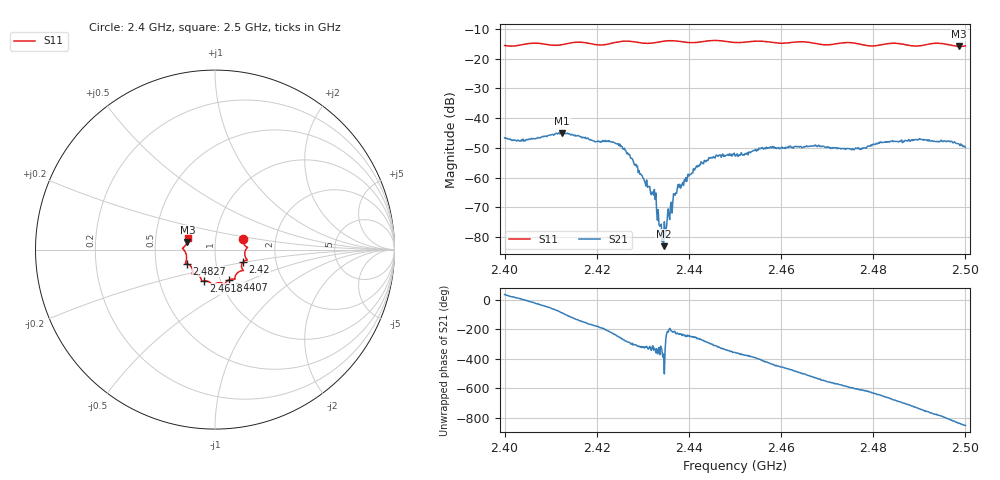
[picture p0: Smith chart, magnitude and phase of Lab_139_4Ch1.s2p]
# Hz S RI R 50
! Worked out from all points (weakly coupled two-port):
!   601 points, 2.4 GHz to 2.5 GHz, reference 50 ohm
!   highest |S21| = -44.99 dB at 2.4125 GHz (marker M1); lowest = -83.1 dB at 2.4345 GHz (marker M2)
!   lowest |S11| = -15.9 dB at 2.4987 GHz (marker M3), VSWR 1.38, Z = 36.5 + j3.22 ohm
!   |S11| at or under -10 dB: start of sweep to end of sweep
!   S12 and S22 are empty: the file has one direction only
!   S11 on the Smith chart (normalised r, x): 2.4 GHz: 1.35, +0.17; 2.42 GHz: 1.35, -0.19; 2.4407 GHz: 1.10, -0.38; 2.4618 GHz: 0.83, -0.30; 2.4827 GHz: 0.72, -0.12; 2.5 GHz: 0.73, +0.10
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2.4e9  0.1544 0.0614  0.00388 0.00259  0 0  0 0
2.404e9  0.1716 0.0182  0.00442 5.7e-05  0 0  0 0
2.4125e9  0.1677 -0.0369  1.73e-05 -0.00563  0 0  0 0
2.416667e9  0.1789 -0.0585  -0.00407 -0.00259  0 0  0 0
2.42e9  0.1563 -0.0689  -0.00403 5.39e-05  0 0  0 0
2.424167e9  0.1526 -0.1098  -0.00184 0.00325  0 0  0 0
2.4265e9  0.158 -0.1172  0.000571 0.00246  0 0  0 0
2.432333e9  0.1148 -0.1434  0.00048 0.000158  0 0  0 0
2.433333e9  0.1117 -0.1528  0.000288 4.72e-06  0 0  0 0
2.434e9  0.1114 -0.1583  0.00013 0.000101  0 0  0 0
2.4345e9  0.1113 -0.1612  6.94e-05 -1e-05  0 0  0 0
2.437167e9  0.1089 -0.1656  -0.000347 0.000432  0 0  0 0
2.440667e9  0.0791 -0.1676  -0.000411 0.00112  0 0  0 0
2.444833e9  0.0541 -0.1936  0.00105 0.00191  0 0  0 0
2.45e9  0.027 -0.1848  0.0023 9.21e-05  0 0  0 0
2.461833e9  -0.0615 -0.1748  -0.00121 -0.00301  0 0  0 0
2.466667e9  -0.0757 -0.1682  -0.00318 -0.00113  0 0  0 0
2.4755e9  -0.1263 -0.134  -0.00168 0.00255  0 0  0 0
2.482667e9  -0.1581 -0.0778  0.0018 0.00358  0 0  0 0
2.483333e9  -0.162 -0.0769  0.00226 0.00334  0 0  0 0
2.498667e9  -0.1542 0.043  -0.00155 -0.0033  0 0  0 0
2.5e9  -0.1512 0.0632  -0.0021 -0.00245  0 0  0 0
